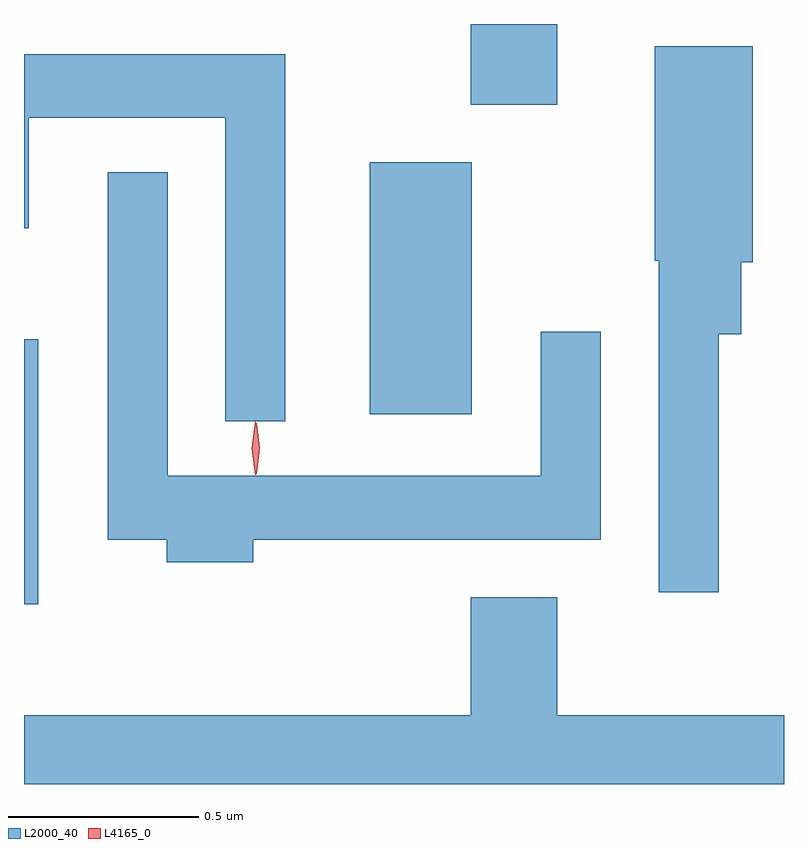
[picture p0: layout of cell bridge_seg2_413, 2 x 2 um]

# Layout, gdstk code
import gdstk
lib = gdstk.Library(unit=1e-6, precision=1e-09)
def R(c, l, rs):  # rectangles x0, y0, x1, y1
    for r in rs: c.add(gdstk.rectangle(r[:2], r[2:], *l))
def P(c, l, *ps):  # polygons
    for p in ps: c.add(gdstk.Polygon(p, *l))
L2000_40 = (2000, 40)
L4165_0 = (4165, 0)

bridge_seg2_413 = lib.new_cell('bridge_seg2_413')
R(bridge_seg2_413, L2000_40, [(632.076,980.056,632.114,980.754), (632.986,980.556,633.254,981.219), (633.251,981.371,633.479,981.583)])
P(bridge_seg2_413, L2000_40, [(633.904,980.766),(633.964,980.766),(633.964,980.956),(633.994,980.956),(633.994,981.524),(633.736,981.524),(633.736,980.96),(633.746,980.96),(633.746,980.088),(633.904,980.088)],
  [(632.764,981.504),(632.076,981.504),(632.076,981.046),(632.089,981.046),(632.089,981.336),(632.606,981.336),(632.606,980.538),(632.764,980.538)],
  [(632.679,980.226),(633.594,980.226),(633.594,980.773),(633.436,980.773),(633.436,980.394),(632.454,980.394),(632.454,981.193),(632.296,981.193),(632.296,980.226),(632.451,980.226),(632.451,980.166),(632.679,980.166)],
  [(634.076,979.764),(633.479,979.764),(633.479,980.074),(633.251,980.074),(633.251,979.764),(632.076,979.764),(632.076,979.583),(634.076,979.583)])
P(bridge_seg2_413, L4165_0, [(632.684,980.397),(632.675,980.467),(632.684,980.536),(632.685,980.536),(632.686,980.536),(632.695,980.467),(632.686,980.397),(632.685,980.397)],
  [(632.688,980.399),(632.687,980.4),(632.678,980.466),(632.687,980.532),(632.687,980.533),(632.688,980.532),(632.697,980.466),(632.688,980.4)])

lib.write_gds('bridge_seg2_413.gds')
